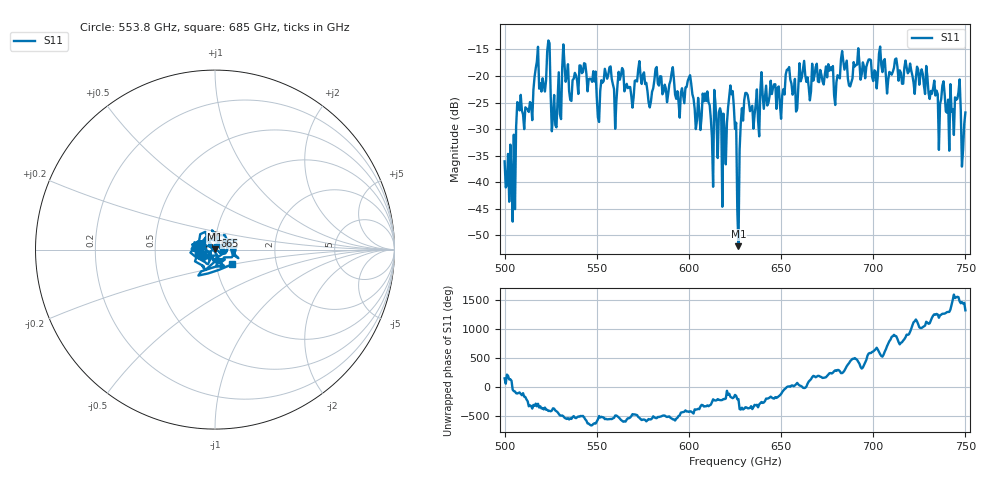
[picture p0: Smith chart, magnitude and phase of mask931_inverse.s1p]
!Created with skrf (http://scikit-rf.org).
# GHz S MA R 50.0
!freq magS11 angS11
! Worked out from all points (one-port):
!   401 points, 500 GHz to 750 GHz, reference 50 ohm
!   lowest |S11| = -52.0 dB at 626.9 GHz (marker M1), VSWR 1.01, Z = 49.8 + j0.127 ohm
!   |S11| at or under -10 dB: start of sweep to end of sweep
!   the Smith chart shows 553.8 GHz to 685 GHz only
!   S11 on the Smith chart (normalised r, x): 553.8 GHz: 0.84, -0.03; 665 GHz: 0.98, +0.16; 685 GHz: 1.20, -0.20
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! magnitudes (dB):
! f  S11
! 500 GHz  -36.1
! 505 GHz  -31.0
! 507.5 GHz  -25.1
! 513.8 GHz  -24.9
! 516.9 GHz  -18.6
! 523.8 GHz  -13.3
! 526.9 GHz  -23.6
! 531.2 GHz  -18.4
! 542.5 GHz  -19.3
! 551.2 GHz  -28.6
! 553.8 GHz  -21.0
! 560 GHz  -29.9
! 562.5 GHz  -20.7
! 578.8 GHz  -25.9
! 590.6 GHz  -19.4
! 593.8 GHz  -22.9
! 608.8 GHz  -23.3
! 619.4 GHz  -30.5
! 623.1 GHz  -23.4
! 625 GHz  -30.0
! 626.9 GHz  -52.0
! 631.2 GHz  -23.2
! 656.2 GHz  -23.5
! 665 GHz  -22.1
! 685 GHz  -18.0
! 687.5 GHz  -22.0
! 718.8 GHz  -19.5
! 750 GHz  -26.9
